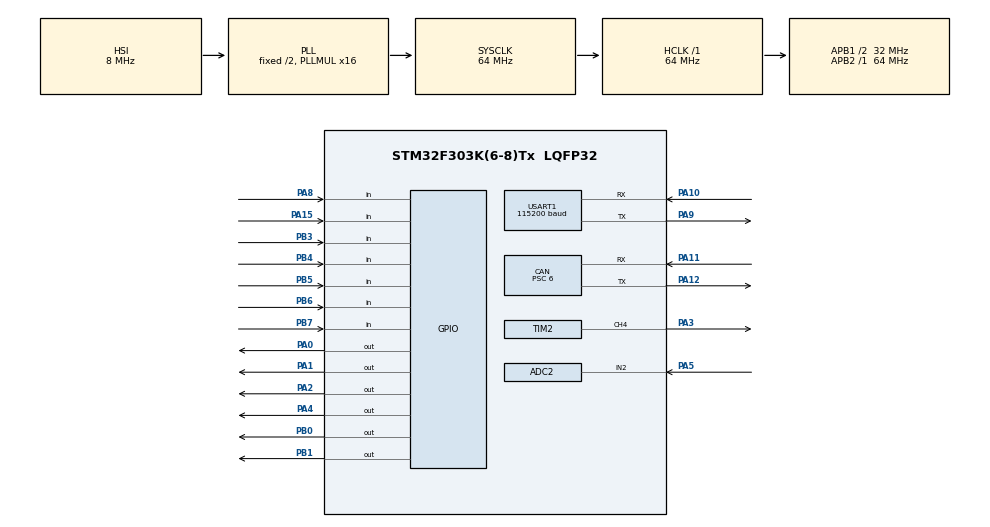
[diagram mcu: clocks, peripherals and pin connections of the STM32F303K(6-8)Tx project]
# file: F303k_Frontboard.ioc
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ADC2.Channel-0\#ChannelRegularConversion=ADC_CHANNEL_2
ADC2.ClockPrescaler=ADC_CLOCK_SYNC_PCLK_DIV4
ADC2.ContinuousConvMode=ENABLE
ADC2.DMAContinuousRequests=ENABLE
ADC2.DataAlign=ADC_DATAALIGN_RIGHT
ADC2.NbrOfConversion=1
ADC2.NbrOfConversionFlag=1
ADC2.Offset-0\#ChannelRegularConversion=0
ADC2.OffsetNumber-0\#ChannelRegularConversion=ADC_OFFSET_NONE
ADC2.Rank-0\#ChannelRegularConversion=1
ADC2.SamplingTime-0\#ChannelRegularConversion=ADC_SAMPLETIME_181CYCLES_5
ADC2.SubFamily=STM32F303x8
CAN.BS1=CAN_BS1_10TQ
CAN.CalculateBaudRate=444444
CAN.CalculateTimeBit=2250.00
CAN.CalculateTimeQuantum=187.5
CAN.Mode=CAN_MODE_NORMAL
CAN.Prescaler=6
Dma.ADC2.0.Direction=DMA_PERIPH_TO_MEMORY
Dma.ADC2.0.Instance=DMA1_Channel2
Dma.ADC2.0.MemDataAlignment=DMA_MDATAALIGN_HALFWORD
Dma.ADC2.0.MemInc=DMA_MINC_ENABLE
Dma.ADC2.0.Mode=DMA_CIRCULAR
Dma.ADC2.0.PeriphDataAlignment=DMA_PDATAALIGN_HALFWORD
Dma.ADC2.0.PeriphInc=DMA_PINC_DISABLE
Dma.ADC2.0.Priority=DMA_PRIORITY_MEDIUM
Dma.Request0=ADC2
IWDG.Prescaler=IWDG_PRESCALER_8
Mcu.Family=STM32F3
Mcu.Name=STM32F303K(6-8)Tx
Mcu.Package=LQFP32
NVIC.CAN_RX0_IRQn=true\:2\:0\:true\:false\:true\:true\:true
NVIC.CAN_RX1_IRQn=true\:3\:0\:true\:false\:true\:true\:true
NVIC.CAN_SCE_IRQn=true\:4\:0\:true\:false\:true\:true\:true
NVIC.CAN_TX_IRQn=true\:1\:0\:true\:false\:true\:true\:true
NVIC.DMA1_Channel2_IRQn=true\:6\:0\:true\:false\:true\:false\:true
NVIC.PriorityGroup=NVIC_PRIORITYGROUP_4
NVIC.TIM7_DAC2_IRQn=true\:5\:0\:true\:false\:true\:true\:true
PA0.Signal=GPIO_Output
PA1.Signal=GPIO_Output
PA10.Mode=Asynchronous
PA10.Signal=USART1_RX
PA11.Mode=CAN_Activate
PA11.Signal=CAN_RX
PA12.Mode=CAN_Activate
PA12.Signal=CAN_TX
PA13.Mode=Serial_Wire
PA13.Signal=SYS_JTMS-SWDIO
PA14.Mode=Serial_Wire
PA14.Signal=SYS_JTCK-SWCLK
PA15.Signal=GPIO_Input
PA2.Signal=GPIO_Output
PA3.Signal=S_TIM2_CH4
PA4.Signal=GPIO_Output
PA5.Mode=IN2-Single-Ended
PA5.Signal=ADC2_IN2
PA8.Signal=GPIO_Input
PA9.Mode=Asynchronous
PA9.Signal=USART1_TX
PB0.Signal=GPIO_Output
PB1.Signal=GPIO_Output
PB3.Signal=GPIO_Input
PB4.Signal=GPIO_Input
PB5.Signal=GPIO_Input
PB6.Signal=GPIO_Input
PB7.Signal=GPIO_Input
PF0\ /\ OSC_IN.Mode=HSE-External-Oscillator
PF0\ /\ OSC_IN.Signal=RCC_OSC_IN
PF1\ /\ OSC_OUT.Mode=HSE-External-Oscillator
PF1\ /\ OSC_OUT.Signal=RCC_OSC_OUT
ProjectManager.HeapSize=0x200
ProjectManager.StackSize=0x400
ProjectManager.TargetToolchain=STM32CubeIDE
RCC.AHBFreq_Value=64000000
RCC.APB1CLKDivider=RCC_HCLK_DIV2
RCC.APB1Freq_Value=32000000
RCC.APB1TimFreq_Value=64000000
RCC.APB2Freq_Value=64000000
RCC.APB2TimFreq_Value=64000000
RCC.CortexFreq_Value=64000000
RCC.HCLKFreq_Value=64000000
RCC.HSE_VALUE=8000000
RCC.HSI_VALUE=8000000
RCC.PLLMUL=RCC_PLL_MUL16
RCC.SYSCLKFreq_VALUE=64000000
RCC.SYSCLKSourceVirtual=RCC_SYSCLKSOURCE_PLLCLK
SH.S_TIM2_CH4.0=TIM2_CH4,PWM Generation4 CH4
TIM2.Channel-PWM\ Generation4\ CH4=TIM_CHANNEL_4
TIM2.Period=1000-1
TIM2.Prescaler=72
TIM7.Period=10000
TIM7.Prescaler=72
USART1.BaudRate=115200
USART1.SwapParam=ADVFEATURE_SWAP_DISABLE
USART1.VirtualMode-Asynchronous=VM_ASYNC
VP_IWDG_VS_IWDG.Mode=IWDG_Activate
VP_TIM7_VS_ClockSourceINT.Mode=Enable_Timer
board=custom

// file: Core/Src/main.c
/* USER CODE BEGIN Header */
/**
  ******************************************************************************
  * @file           : main.c
  * @brief          : Main program body
  ******************************************************************************
  * @attention
  *
  * <h2><center>&copy; Copyright (c) 2020 STMicroelectronics.
  * All rights reserved.</center></h2>
  *
  * This software component is licensed by ST under BSD 3-Clause license,
  * the "License"; You may not use this file except in compliance with the
  * License. You may obtain a copy of the License at:
  *                        opensource.org/licenses/BSD-3-Clause
  *
  ******************************************************************************
  */
/* USER CODE END Header */
#include "main.h"
#include "adc.h"
#include "can.h"
#include "dma.h"
#include "iwdg.h"
#include "tim.h"
#include "usart.h"
#include "gpio.h"

/* USER CODE BEGIN Includes */
#include "management.h"
/* USER CODE END Includes */

void SystemClock_Config(void);

/* USER CODE BEGIN 0 */

#ifdef __GNUC__
#define PUTCHAR_PROTOTYPE int __io_putchar(int ch)
#else
#define PUTCHAR_PROTOTYPE int fputc(int ch, FILE *f)
#endif /* __GNUC__ */
void __io_putchar(uint8_t ch) {
HAL_UART_Transmit(&huart1, &ch, 1, 1);
}

uint8_t Craction_in,Break_in,Flont_Lamp_in,Key_in,EX_in,Winker_L_in,Winker_R_in;
uint8_t state[1];
uint16_t ADCdata[1];
uint8_t cnt_Winker_L,cnt_Winker_R,cnt_Craction;
float slot,speed;
void HAL_TIM_PeriodElapsedCallback(TIM_HandleTypeDef *htim);
void HAL_CAN_RxFifo0MsgPendingCallback(CAN_HandleTypeDef *hcan);

uint16_t tempdata[5];
uint16_t sortdata[5];
uint16_t out_lowpass;
uint32_t count;
uint16_t medianfilter_out;
uint16_t out_lowpass_temp;
int int_sort( const void *p, const void *q ) {
    return *(uint16_t*)p - *(uint16_t*)q;
}
#define data_cnt  sizeof(sortdata)/sizeof(uint16_t)
#define rate 0.4
/* USER CODE END 0 */

int main(void)
{

  /* MCU Configuration--------------------------------------------------------*/

  /* Reset of all peripherals, Initializes the Flash interface and the Systick. */
  HAL_Init();

  /* Configure the system clock */
  SystemClock_Config();

  /* Initialize all configured peripherals */
  MX_GPIO_Init();
  MX_DMA_Init();
  MX_ADC2_Init();
  MX_CAN_Init();
  MX_USART1_UART_Init();
  MX_TIM2_Init();
  MX_TIM7_Init();
  MX_IWDG_Init();
  /* USER CODE BEGIN 2 */
  setbuf(stdout, NULL);
  can_init(&hcan);
  HAL_ADC_Init(&hadc2);
  HAL_ADCEx_Calibration_Start(&hadc2, ADC_SINGLE_ENDED);
  HAL_ADC_ConfigChannel(&hadc2, &sConfig);
  HAL_ADC_Start_DMA(&hadc2, (uint32_t *)ADCdata,1);
  HAL_TIM_PWM_Start(&htim2, TIM_CHANNEL_4);
  __HAL_TIM_SET_COMPARE(&htim2, TIM_CHANNEL_4, 0);

  count=0;
  for(uint16_t start_wait_delay=0;start_wait_delay<50;start_wait_delay++){
  tempdata[count]=ADCdata[0];
  	  for(uint8_t i=0;i<5;i++){
  	  sortdata[i]=tempdata[i];
  	  }
  	  qsort(sortdata,data_cnt,2,int_sort );
  	  medianfilter_out=tempdata[2];
  	  out_lowpass=(float)((float)rate*medianfilter_out+(float)(1-rate)*out_lowpass_temp);
  	  out_lowpass_temp=out_lowpass;
  	  if(count>=4){
  		  count=0;
  	  }
  	  else{
  		  count++;
  	  }
  }

  HAL_TIM_Base_Start_IT(&htim7);
  /* USER CODE END 2 */

  /* Infinite loop */
  while (1)
  {

    /* USER CODE BEGIN 3 */

	  printf(" slot=%f",slot);
	  printf(" speed=%f",speed);
	  printf(" ADC=%d",out_lowpass);
	  printf(" C=%d",cnt_Craction);
	  printf(" F=%d",Flont_Lamp_in);
	  printf(" B=%d",Break_in);
	  printf(" L=%d",cnt_Winker_L);
	  printf(" R=%d",cnt_Winker_R);
	  printf(" K=%d",Key_in);
	  printf(" E=%d",EX_in);
	  printf(" state=%d",state[0]);
	  printf("\r\n");
	  HAL_IWDG_Refresh(&hiwdg);
  }
  /* USER CODE END 3 */
}

void SystemClock_Config(void)
{
  RCC_OscInitTypeDef RCC_OscInitStruct = {0};
  RCC_ClkInitTypeDef RCC_ClkInitStruct = {0};
  RCC_PeriphCLKInitTypeDef PeriphClkInit = {0};

  /** Initializes the RCC Oscillators according to the specified parameters
  * in the RCC_OscInitTypeDef structure.
  */
  RCC_OscInitStruct.OscillatorType = RCC_OSCILLATORTYPE_HSI|RCC_OSCILLATORTYPE_LSI;
  RCC_OscInitStruct.HSIState = RCC_HSI_ON;
  RCC_OscInitStruct.HSICalibrationValue = RCC_HSICALIBRATION_DEFAULT;
  RCC_OscInitStruct.LSIState = RCC_LSI_ON;
  RCC_OscInitStruct.PLL.PLLState = RCC_PLL_ON;
  RCC_OscInitStruct.PLL.PLLSource = RCC_PLLSOURCE_HSI;
  RCC_OscInitStruct.PLL.PLLMUL = RCC_PLL_MUL16;
  if (HAL_RCC_OscConfig(&RCC_OscInitStruct) != HAL_OK)
  {
    Error_Handler();
  }
  /** Initializes the CPU, AHB and APB buses clocks
  */
  RCC_ClkInitStruct.ClockType = RCC_CLOCKTYPE_HCLK|RCC_CLOCKTYPE_SYSCLK
                              |RCC_CLOCKTYPE_PCLK1|RCC_CLOCKTYPE_PCLK2;
  RCC_ClkInitStruct.SYSCLKSource = RCC_SYSCLKSOURCE_PLLCLK;
  RCC_ClkInitStruct.AHBCLKDivider = RCC_SYSCLK_DIV1;
  RCC_ClkInitStruct.APB1CLKDivider = RCC_HCLK_DIV2;
  RCC_ClkInitStruct.APB2CLKDivider = RCC_HCLK_DIV1;

  if (HAL_RCC_ClockConfig(&RCC_ClkInitStruct, FLASH_LATENCY_2) != HAL_OK)
  {
    Error_Handler();
  }
  PeriphClkInit.PeriphClockSelection = RCC_PERIPHCLK_USART1;
  PeriphClkInit.Usart1ClockSelection = RCC_USART1CLKSOURCE_PCLK1;
  if (HAL_RCCEx_PeriphCLKConfig(&PeriphClkInit) != HAL_OK)
  {
    Error_Handler();
  }
}

/* USER CODE BEGIN 4 */

void HAL_CAN_RxFifo0MsgPendingCallback(CAN_HandleTypeDef *hcan)
{
	if (HAL_CAN_GetRxMessage(hcan, CAN_RX_FIFO0, &RxHeader, RxData) != HAL_OK)
	  	{
	    		Error_Handler();
	  	}
	switch (RxHeader.StdId){
	//error
	case 0x000:
		NVIC_SystemReset();
		break;

	//speed
	case 0x102:
		speed=uchar4_to_float(RxData);
		break;

	}
}

void HAL_TIM_PeriodElapsedCallback(TIM_HandleTypeDef *htim)
{

	tempdata[count]=ADCdata[0];
	for(uint8_t i=0;i<5;i++){
		sortdata[i]=tempdata[i];
	}
	qsort(sortdata,data_cnt,2,int_sort);
	medianfilter_out=tempdata[2];
	out_lowpass=(float)((float)rate*medianfilter_out+(float)(1-rate)*out_lowpass_temp);
	out_lowpass_temp=out_lowpass;

	if(count>=4){
		count=0;
	}
	else{
		count++;
	}

	TxData[0]=state[0];
	can_send(0x100,(uint8_t*)TxData);

	float_to_uchar4(TxData,slot);
	can_send(0x101,(uint8_t*)TxData);

	 Craction_in=HAL_GPIO_ReadPin(GPIOB, GPIO_PIN_5);
	 Break_in=HAL_GPIO_ReadPin(GPIOB, GPIO_PIN_4);
	 Flont_Lamp_in=HAL_GPIO_ReadPin(GPIOB, GPIO_PIN_6);
	 Key_in=HAL_GPIO_ReadPin(GPIOB, GPIO_PIN_7);
	 EX_in=HAL_GPIO_ReadPin(GPIOA, GPIO_PIN_8);
	 Winker_L_in=HAL_GPIO_ReadPin(GPIOA, GPIO_PIN_15);
	 Winker_R_in=HAL_GPIO_ReadPin(GPIOB, GPIO_PIN_3);
	 state[0]=(Winker_L_in << 6)+(Winker_R_in << 5) +(Craction_in<<4)+(Break_in<<3)+(Flont_Lamp_in<<2)
				  	  			 +(Key_in<<1)+EX_in;

	 if(Flont_Lamp_in==0){
		 __HAL_TIM_SET_COMPARE(&htim2, TIM_CHANNEL_4, 9000);
	 }
	 else{
		 __HAL_TIM_SET_COMPARE(&htim2, TIM_CHANNEL_4, 100);
	 }

	 slot=(float)out_lowpass/4096.0*3.3*25000.0/15000.0/4.26*3.489;

	 if(Craction_in==0){
		 cnt_Craction++;
		 if(cnt_Craction>250){cnt_Craction=10;}
		}
	else{
		cnt_Craction=0;
		}

		if(cnt_Craction>3){
			HAL_GPIO_WritePin(GPIOA, GPIO_PIN_2, 1);
			cnt_Craction=3;
		}
		else{
			HAL_GPIO_WritePin(GPIOA, GPIO_PIN_2, 0);
		}

		if(Winker_L_in==0){
			HAL_GPIO_WritePin(GPIOA, GPIO_PIN_0,1);
		}
		else{
			HAL_GPIO_WritePin(GPIOA, GPIO_PIN_0,0);
		}

		if(Winker_R_in==0){
			HAL_GPIO_WritePin(GPIOA, GPIO_PIN_1,1);
		}
		else{
			HAL_GPIO_WritePin(GPIOA, GPIO_PIN_1,0);
		}

		HAL_GPIO_TogglePin(GPIOB, GPIO_PIN_1);
}
/* USER CODE END 4 */

void Error_Handler(void)
{
  /* USER CODE BEGIN Error_Handler_Debug */
  /* User can add his own implementation to report the HAL error return state */
	TxData[0]=0x01;
	TxData[1]=0xFF;
	can_send(0x000,(uint8_t*)TxData);
	HAL_GPIO_TogglePin(GPIOB, GPIO_PIN_0);
	HAL_Delay(100);

  /* USER CODE END Error_Handler_Debug */
}

/************************ (C) COPYRIGHT STMicroelectronics *****END OF FILE****/
